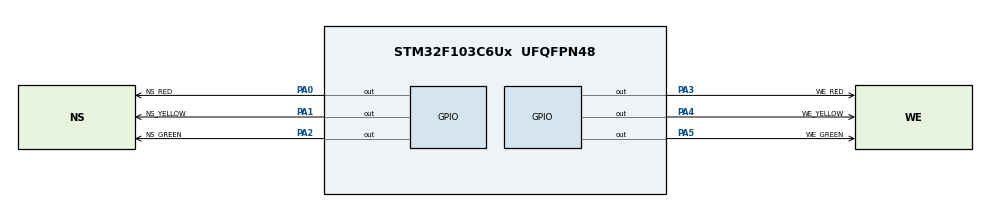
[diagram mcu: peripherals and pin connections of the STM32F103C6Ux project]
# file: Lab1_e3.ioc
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Mcu.Family=STM32F1
Mcu.Name=STM32F103C6Ux
Mcu.Package=UFQFPN48
NVIC.PriorityGroup=NVIC_PRIORITYGROUP_4
PA0-WKUP.GPIO_Label=NS_RED
PA0-WKUP.PinState=GPIO_PIN_SET
PA0-WKUP.Signal=GPIO_Output
PA1.GPIO_Label=NS_YELLOW
PA1.PinState=GPIO_PIN_SET
PA1.Signal=GPIO_Output
PA2.GPIO_Label=NS_GREEN
PA2.PinState=GPIO_PIN_SET
PA2.Signal=GPIO_Output
PA3.GPIO_Label=WE_RED
PA3.PinState=GPIO_PIN_SET
PA3.Signal=GPIO_Output
PA4.GPIO_Label=WE_YELLOW
PA4.PinState=GPIO_PIN_SET
PA4.Signal=GPIO_Output
PA5.GPIO_Label=WE_GREEN
PA5.PinState=GPIO_PIN_SET
PA5.Signal=GPIO_Output
ProjectManager.HeapSize=0x200
ProjectManager.StackSize=0x400
ProjectManager.TargetToolchain=STM32CubeIDE
RCC.APB1Freq_Value=8000000
RCC.APB2Freq_Value=8000000
VP_SYS_VS_ND.Mode=No_Debug
board=custom

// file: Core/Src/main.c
/* USER CODE BEGIN Header */
/* USER CODE END Header */
#include "main.h"

void SystemClock_Config(void);
static void MX_GPIO_Init(void);

int main(void)
{

  /* MCU Configuration--------------------------------------------------------*/

  /* Reset of all peripherals, Initializes the Flash interface and the Systick. */
  HAL_Init();

  /* Configure the system clock */
  SystemClock_Config();

  /* Initialize all configured peripherals */
  MX_GPIO_Init();

  /* Infinite loop */
  /* USER CODE BEGIN WHILE */
  while (1)
  {
      //North South gogo

      HAL_GPIO_WritePin(NS_GREEN_GPIO_Port,
                        NS_GREEN_Pin,
                        GPIO_PIN_RESET);

      HAL_GPIO_WritePin(WE_RED_GPIO_Port,
                        WE_RED_Pin,
                        GPIO_PIN_RESET);

	  HAL_GPIO_WritePin(NS_RED_GPIO_Port,
                        NS_RED_Pin,
                        GPIO_PIN_SET);

      HAL_GPIO_WritePin(NS_YELLOW_GPIO_Port,
                        NS_YELLOW_Pin,
                        GPIO_PIN_SET);

      HAL_GPIO_WritePin(WE_YELLOW_GPIO_Port,
                        WE_YELLOW_Pin,
                        GPIO_PIN_SET);

      HAL_GPIO_WritePin(WE_GREEN_GPIO_Port,
                        WE_GREEN_Pin,
                        GPIO_PIN_SET);

      HAL_Delay(3000);

      //North South stop

      HAL_GPIO_WritePin(NS_GREEN_GPIO_Port,
                        NS_GREEN_Pin,
                        GPIO_PIN_SET);

      HAL_GPIO_WritePin(WE_RED_GPIO_Port,
                        WE_RED_Pin,
                        GPIO_PIN_RESET);

	  HAL_GPIO_WritePin(NS_RED_GPIO_Port,
                        NS_RED_Pin,
                        GPIO_PIN_SET);

      HAL_GPIO_WritePin(NS_YELLOW_GPIO_Port,
                        NS_YELLOW_Pin,
                        GPIO_PIN_RESET);

      HAL_GPIO_WritePin(WE_YELLOW_GPIO_Port,
                        WE_YELLOW_Pin,
                        GPIO_PIN_SET);

      HAL_GPIO_WritePin(WE_GREEN_GPIO_Port,
                        WE_GREEN_Pin,
                        GPIO_PIN_SET);

      HAL_Delay(2000);

      //West East gogo

	  HAL_GPIO_WritePin(NS_RED_GPIO_Port,
                        NS_RED_Pin,
                        GPIO_PIN_RESET);

	  HAL_GPIO_WritePin(WE_GREEN_GPIO_Port,
                        WE_GREEN_Pin,
                        GPIO_PIN_RESET);

      HAL_GPIO_WritePin(NS_GREEN_GPIO_Port,
                        NS_GREEN_Pin,
                        GPIO_PIN_SET);

      HAL_GPIO_WritePin(WE_RED_GPIO_Port,
                        WE_RED_Pin,
                        GPIO_PIN_SET);

      HAL_GPIO_WritePin(NS_YELLOW_GPIO_Port,
                        NS_YELLOW_Pin,
                        GPIO_PIN_SET);

      HAL_GPIO_WritePin(WE_YELLOW_GPIO_Port,
                        WE_YELLOW_Pin,
                        GPIO_PIN_SET);
      HAL_Delay(3000);

      //West East stop

      HAL_GPIO_WritePin(NS_GREEN_GPIO_Port,
                        NS_GREEN_Pin,
                        GPIO_PIN_SET);

      HAL_GPIO_WritePin(WE_RED_GPIO_Port,
                        WE_RED_Pin,
                        GPIO_PIN_SET);

	  HAL_GPIO_WritePin(NS_RED_GPIO_Port,
                        NS_RED_Pin,
                        GPIO_PIN_RESET);

      HAL_GPIO_WritePin(NS_YELLOW_GPIO_Port,
                        NS_YELLOW_Pin,
                        GPIO_PIN_SET);

      HAL_GPIO_WritePin(WE_YELLOW_GPIO_Port,
                        WE_YELLOW_Pin,
                        GPIO_PIN_RESET);

      HAL_GPIO_WritePin(WE_GREEN_GPIO_Port,
                        WE_GREEN_Pin,
                        GPIO_PIN_SET);

      HAL_Delay(2000);

  }
    /* USER CODE END WHILE */

}

void SystemClock_Config(void)
{
  RCC_OscInitTypeDef RCC_OscInitStruct = {0};
  RCC_ClkInitTypeDef RCC_ClkInitStruct = {0};

  /** Initializes the RCC Oscillators according to the specified parameters
  * in the RCC_OscInitTypeDef structure.
  */
  RCC_OscInitStruct.OscillatorType = RCC_OSCILLATORTYPE_HSI;
  RCC_OscInitStruct.HSIState = RCC_HSI_ON;
  RCC_OscInitStruct.HSICalibrationValue = RCC_HSICALIBRATION_DEFAULT;
  RCC_OscInitStruct.PLL.PLLState = RCC_PLL_NONE;
  if (HAL_RCC_OscConfig(&RCC_OscInitStruct) != HAL_OK)
  {
    Error_Handler();
  }
  /** Initializes the CPU, AHB and APB buses clocks
  */
  RCC_ClkInitStruct.ClockType = RCC_CLOCKTYPE_HCLK|RCC_CLOCKTYPE_SYSCLK
                              |RCC_CLOCKTYPE_PCLK1|RCC_CLOCKTYPE_PCLK2;
  RCC_ClkInitStruct.SYSCLKSource = RCC_SYSCLKSOURCE_HSI;
  RCC_ClkInitStruct.AHBCLKDivider = RCC_SYSCLK_DIV1;
  RCC_ClkInitStruct.APB1CLKDivider = RCC_HCLK_DIV1;
  RCC_ClkInitStruct.APB2CLKDivider = RCC_HCLK_DIV1;

  if (HAL_RCC_ClockConfig(&RCC_ClkInitStruct, FLASH_LATENCY_0) != HAL_OK)
  {
    Error_Handler();
  }
}

static void MX_GPIO_Init(void)
{
  GPIO_InitTypeDef GPIO_InitStruct = {0};

  /* GPIO Ports Clock Enable */
  __HAL_RCC_GPIOA_CLK_ENABLE();

  /*Configure GPIO pin Output Level */
  HAL_GPIO_WritePin(GPIOA, NS_RED_Pin|NS_YELLOW_Pin|NS_GREEN_Pin|WE_RED_Pin
                          |WE_YELLOW_Pin|WE_GREEN_Pin, GPIO_PIN_SET);

  /*Configure GPIO pins : NS_RED_Pin NS_YELLOW_Pin NS_GREEN_Pin WE_RED_Pin
                           WE_YELLOW_Pin WE_GREEN_Pin */
  GPIO_InitStruct.Pin = NS_RED_Pin|NS_YELLOW_Pin|NS_GREEN_Pin|WE_RED_Pin
                          |WE_YELLOW_Pin|WE_GREEN_Pin;
  GPIO_InitStruct.Mode = GPIO_MODE_OUTPUT_PP;
  GPIO_InitStruct.Pull = GPIO_NOPULL;
  GPIO_InitStruct.Speed = GPIO_SPEED_FREQ_LOW;
  HAL_GPIO_Init(GPIOA, &GPIO_InitStruct);

}

void Error_Handler(void)
{
}

/************************ (C) COPYRIGHT STMicroelectronics *****END OF FILE****/
